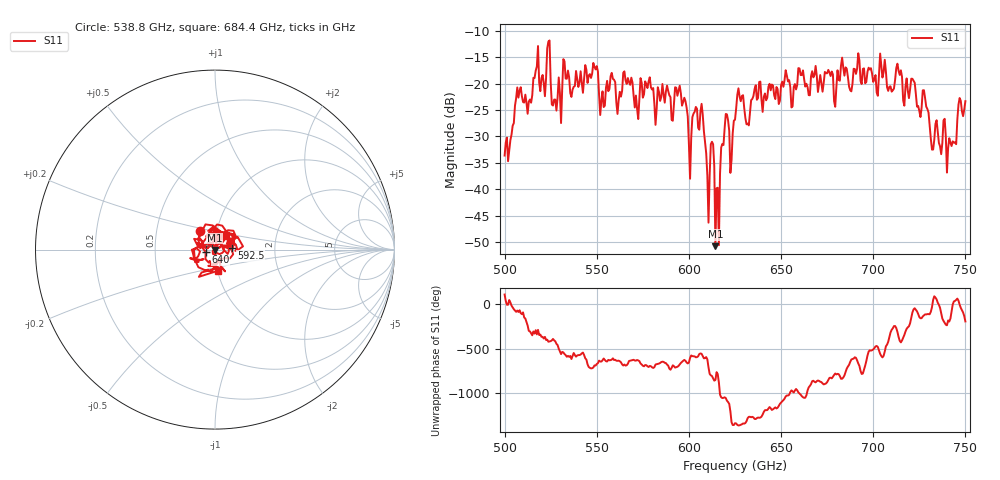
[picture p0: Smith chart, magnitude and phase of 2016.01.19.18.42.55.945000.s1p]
!Created with skrf (http://scikit-rf.org).
# GHz S RI R 50.0
!freq ReS11 ImS11
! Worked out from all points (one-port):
!   401 points, 500 GHz to 750 GHz, reference 50 ohm
!   lowest |S11| = -50.8 dB at 614.4 GHz (marker M1), VSWR 1.01, Z = 49.8 - j0.206 ohm
!   |S11| at or under -10 dB: start of sweep to end of sweep
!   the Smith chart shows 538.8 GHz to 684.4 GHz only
!   S11 on the Smith chart (normalised r, x): 538.8 GHz: 0.83, +0.17; 592.5 GHz: 1.20, +0.02; 640 GHz: 0.90, -0.03; 684.4 GHz: 1.00, -0.24
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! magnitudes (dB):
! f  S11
! 500 GHz  -33.6
! 516.9 GHz  -17.5
! 520.6 GHz  -18.4
! 523.8 GHz  -12.0
! 526.9 GHz  -23.0
! 531.2 GHz  -21.0
! 538.8 GHz  -17.6
! 549.4 GHz  -17.3
! 553.1 GHz  -21.5
! 562.5 GHz  -21.5
! 592.5 GHz  -20.7
! 593.8 GHz  -22.3
! 600.6 GHz  -38.0
! 607.5 GHz  -25.9
! 610 GHz  -37.4
! 612.5 GHz  -31.0
! 614.4 GHz  -50.8
! 615.6 GHz  -39.7
! 619.4 GHz  -28.4
! 623.1 GHz  -34.5
! 625 GHz  -26.8
! 640 GHz  -25.3
! 656.2 GHz  -24.3
! 684.4 GHz  -18.5
! 687.5 GHz  -21.3
! 718.8 GHz  -21.3
! 741.2 GHz  -30.3
! 750 GHz  -23.3
